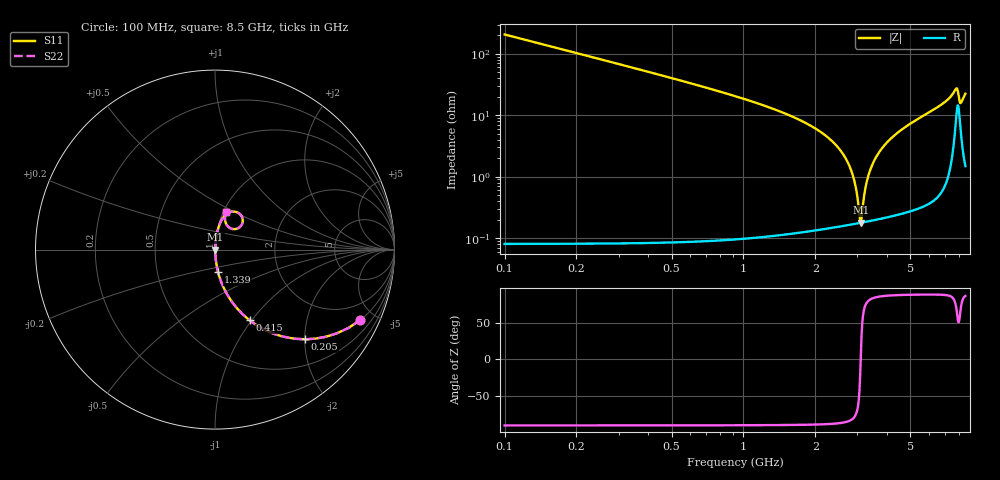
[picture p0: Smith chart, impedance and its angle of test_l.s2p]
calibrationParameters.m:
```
clear;
save_path = '../../Lab1_VNACalibration/Images/';
%% Open the measurements
% Open the S-Parameters of the thru and the line, measures taken with the
% VNA
[s_obj_t] = getSParametersFromFile_Quadrupole('test_t.s2p');
[s_obj_l] = getSParametersFromFile_Quadrupole('test_l.s2p');

% Open the measurements of the reflections
[s_obj_r1] = getSParametersFromFile_Reflection('test_r.s2p');
[s_obj_r2] = getSParametersFromFile_Reflection('test_r.s2p');

%% Steps on slide 20
% Transform the S-parameters to T-parameters (using the names in slide20)
R_T = s2t(s_obj_t.Parameters);
R_L = s2t(s_obj_l.Parameters);

% Calculate T
T = zeros(size(R_T));
for ii=1:size(T,3)
   T(:,:,ii) = R_L(:,:,ii) * inv(R_T(:,:,ii)); 
end

%% Steps on slide 21
% It is solved the second degree equation using the traditional formula
% -b+-sqrt... where a = t21, b = t22-t11, c = -t12
a_par = T(2,1,:);
b_par = T(2,2,:) - T(1,1,:);
c_par = -T(1,2,:);
sol_1 = (-b_par+sqrt(b_par.^2-4*a_par.*c_par))./(2.*a_par);
sol_2 = (-b_par-sqrt(b_par.^2-4*a_par.*c_par))./(2.*a_par);

% Now it is determines between the two solutions which one fits better the
% specifications: abs(b) << 1 and abs(a/c) >> 1. This is going to be done
% by calculatig the mean of the abslute values
if mean(abs(sol_1)) > mean(abs(sol_2))
    b = sol_2;
    a_over_c = sol_1;
else
    b = sol_1;
    a_over_c = sol_2;
end
fprintf('The mean of abs(b) is %f anf the mean of abs(a/c) is %f\n', ...
    mean(abs(b)), mean(abs(a_over_c)));

%% Steps on slide 22
% d, e, f, and g are extracted from the R_T matrix
g = R_T(2,2,:);
d = R_T(1,1,:)./g;
e = R_T(1,2,:)./g;
f = R_T(2,1,:)./g;

c_over_a = 1./a_over_c;

r22_rho22 = g.*(1-e.*c_over_a)./(1-b.*c_over_a);
gamma = (f-d.*c_over_a)./(1-e.*c_over_a);
alpha_a = (d - b.*f)./(1-e.*c_over_a);
beta_over_alpha = (e-b)./(d-b.*f);

%% Steps on slide 24
a_over_alpha = (s_obj_r1.Parameters(1,1,:) - b).*...
    (1 + s_obj_r2.Parameters(1,1,:).*beta_over_alpha)./...
    ((s_obj_r2.Parameters(1,1,:) + gamma).*...
    (1-s_obj_r1.Parameters(1,1,:).*c_over_a));

% There are two possible values of a. Both are calculated and plotted, then
% they are checked.
a_sol1 = sqrt(alpha_a .* a_over_alpha);
a_sol2 = -sqrt(alpha_a .* a_over_alpha);

rho_R_a_sol1 = (s_obj_r1.Parameters(1,1,:) - b)./...
    (a_sol1.*(1-s_obj_r1.Parameters(1,1,:).*c_over_a));
rho_R_a_sol2 = (s_obj_r1.Parameters(1,1,:) - b)./...
    (a_sol2.*(1-s_obj_r1.Parameters(1,1,:).*c_over_a));

% Plot both parameters
figure('Color',[1 1 1]);
set(gcf,'position',[100,100,400,300]);
set(gca,'FontSize',11, 'fontname','Times New Roman');
smithplot(s_obj_r1.Frequencies, rho_R_a_sol1(:)); hold on;
smithplot(s_obj_r1.Frequencies, rho_R_a_sol2(:)); hold on;
title('\Gamma_R for each solution of a');
legend('+ sol', '- sol', 'Location', 'eastoutside');
% saveas(gca, [save_path, 'smit_refflection'],'epsc');

% Check the best parameter: the one closest to one, because the reflection
% is an open circuit
error_rho_R_a_sol1 = sum(abs(rho_R_a_sol1 - 1).^2);
error_rho_R_a_sol2 = sum(abs(rho_R_a_sol2 - 1).^2);

if error_rho_R_a_sol1 < error_rho_R_a_sol2
    a = a_sol1;
    fprintf('It is taken the positive answer\n');
else
    a = a_sol2;
    fprintf('It is taken the negative answer\n');
end

% Now it is calculated c, alpha and beta
c = a.*c_over_a;
alpha = alpha_a ./ a;
beta = alpha .* beta_over_alpha;

%% Steps on slide 25
% Calculate both reflection coefficientes of the reflect and see the
% differences
rho_R_1 = (s_obj_r1.Parameters(1,1,:) - b)./...
    (a - s_obj_r1.Parameters(1,1,:).*c);
rho_R_2 = (gamma + s_obj_r2.Parameters(1,1,:))./...
    (alpha + beta.*s_obj_r2.Parameters(1,1,:));
error = abs(rho_R_1 - rho_R_2);

% Plot the error
figure('Color',[1 1 1]);
set(gcf,'position',[100,100,400,300]);
set(gca,'FontSize',11, 'fontname','Times New Roman');
plot(s_obj_r1.Frequencies/1e9, error(:));
xlim([s_obj_r1.Frequencies(1) s_obj_r1.Frequencies(end)]/1e9);
% title('|\Gamma_{R port 1} - \Gamma_{R port 2}|');
xlabel('f (GHz)');
saveas(gca, [save_path, 'error_reflection'],'epsc');

% Obtain the S-parameters of the line
R_line = obtain_R_DUT(a, b, c, alpha, beta, gamma, r22_rho22, R_L);
S_line = t2s(R_line);

% Obtain the phase delay of the line
s21_line = S_line(2,1,:);   s21_line = s21_line(:);
length_line = 10e-3;      % Length of the line (m)
gamma_m = log(s21_line)/(-length_line);
beta_m = imag(gamma_m);
phase_delay = beta_m*length_line./(2*pi*s_obj_r1.Frequencies);

% Plot the phase delay of the line
figure('Color',[1 1 1]);
set(gcf,'position',[100,100,400,300]);
set(gca,'FontSize',11, 'fontname','Times New Roman');
plot(s_obj_r1.Frequencies/1e9, phase_delay);
title('Phase delay of the line(\tau_l)');
xlabel('f (GHz)');
ylabel('s');
xlim([s_obj_r1.Frequencies(1) s_obj_r1.Frequencies(end)]/1e9);
saveas(gca, [save_path, 'phase_delay'],'epsc');

fprintf('The mean phase delay is %f s\n', mean(phase_delay));

%% Check that all the parameters fit the desired expectations
figure('Color',[1 1 1]);
set(gcf,'position',[100,100,400,300]);
set(gca,'FontSize',11, 'fontname','Times New Roman');
plot(s_obj_r1.Frequencies/1e9, abs(a(:))); hold on;
plot(s_obj_r1.Frequencies/1e9, abs(b(:))); hold on; 
plot(s_obj_r1.Frequencies/1e9, abs(c(:))); hold on;
plot(s_obj_r1.Frequencies/1e9, abs(alpha(:))); hold on;
plot(s_obj_r1.Frequencies/1e9, abs(beta(:))); hold on;
plot(s_obj_r1.Frequencies/1e9, abs(gamma(:))); hold on;
plot(s_obj_r1.Frequencies/1e9, abs(r22_rho22(:)));
xlabel('f (GHz)');
xlim([s_obj_r1.Frequencies(1) s_obj_r1.Frequencies(end)]/1e9);
legend('|a|', '|b|', '|c|', '|\alpha|', '|\beta|', '|\gamma|', ...
    '|r_{22} \rho_{22}|', 'Location', 'best');
saveas(gca, [save_path, 'abs_parameters'],'epsc');
%% Save all the calibration parameters
freq = s_obj_r1.Frequencies;
filename = 'calibration_TRL.mat';
save(filename, 'a', 'b', 'c', 'alpha', 'beta', 'gamma', 'r22rho22', ...
    'length_line', 'phase_delay', 'freq');
```
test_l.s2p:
# Hz S RI R 50
!Freq.(Hz) S11(Real) S11(Imag) S21(Real) S21(Imag) S12(Real) S12(Imag) S22(Real) S22(Imag)
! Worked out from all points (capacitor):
!   401 points, 100 MHz to 8.5 GHz, reference 50 ohm
!   read as one part in series: C = 7.7 pF near 142 MHz
!   lowest |Z| = 179 mohm at 3.103 GHz (marker M1)
!   series resonance near 3.098 GHz, so ESL is about 340 pH
!   S11 on the Smith chart (normalised r, x): 100 MHz: 1.00, -4.13; 205 MHz: 1.00, -2.01; 415 MHz: 1.00, -0.98; 1.339 GHz: 1.00, -0.25; 8.5 GHz: 1.03, +0.45
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1e8  0.8099 -0.3922  0.1901 0.3922  0.1901 0.3922  0.8099 -0.3922
2.05e8  0.502 -0.4996  0.498 0.4996  0.498 0.4996  0.502 -0.4996
4.15e8  0.1936 -0.3942  0.8064 0.3942  0.8064 0.3942  0.1936 -0.3942
1.339e9  0.0167 -0.1238  0.9833 0.1238  0.9833 0.1238  0.0167 -0.1238
2.62e9  0.00209 -0.0228  0.9979 0.0228  0.9979 0.0228  0.00209 -0.0228
2.893e9  0.00177 -0.0093  0.9982 0.0093  0.9982 0.0093  0.00177 -0.0093
3.103e9  0.00177 0.000241  0.9982 -0.000241  0.9982 -0.000241  0.00177 0.000241
3.46e9  0.00216 0.0153  0.9978 -0.0153  0.9978 -0.0153  0.00216 0.0153
4.3e9  0.00454 0.047  0.9955 -0.047  0.9955 -0.047  0.00454 0.047
7.723e9  0.112 0.2111  0.888 -0.2111  0.888 -0.2111  0.112 0.2111
8.5e9  0.0603 0.2073  0.9397 -0.2073  0.9397 -0.2073  0.0603 0.2073
